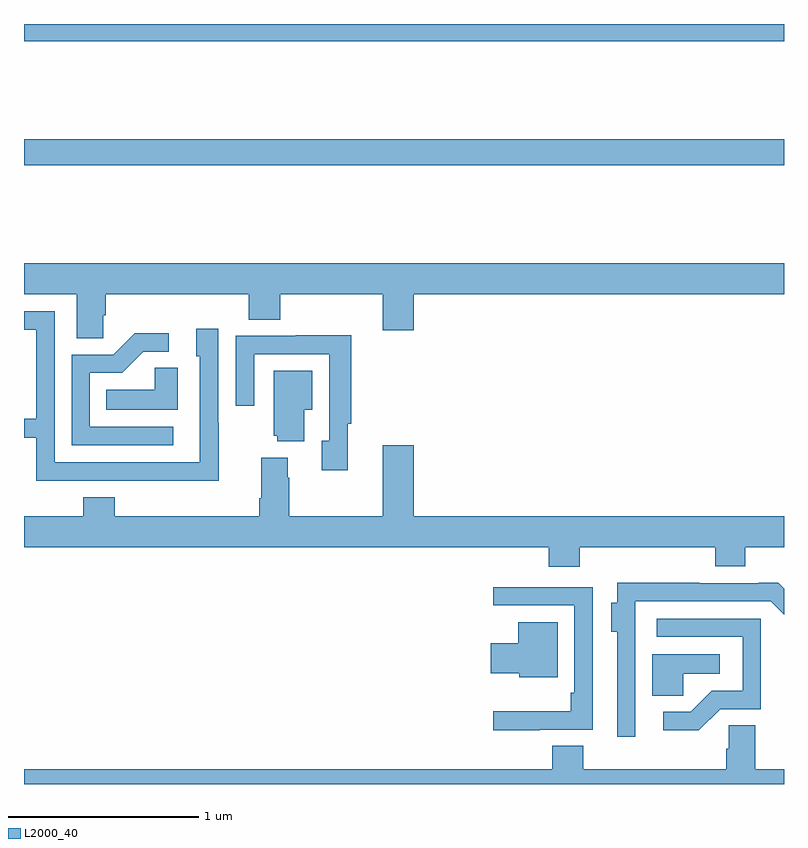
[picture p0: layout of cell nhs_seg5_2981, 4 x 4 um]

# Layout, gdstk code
import gdstk
lib = gdstk.Library(unit=1e-6, precision=1e-09)
def R(c, l, rs):  # rectangles x0, y0, x1, y1
    for r in rs: c.add(gdstk.rectangle(r[:2], r[2:], *l))
def P(c, l, *ps):  # polygons
    for p in ps: c.add(gdstk.Polygon(p, *l))
L2000_40 = (2000, 40)

nhs_seg5_2981 = lib.new_cell('nhs_seg5_2981')
R(nhs_seg5_2981, L2000_40, [(283,908.056,287,908.192), (283,908.708,287,908.799)])
P(nhs_seg5_2981, L2000_40, [(283.416,907.267),(283.43,907.267),(283.43,907.376),(284.183,907.376),(284.183,907.243),(284.348,907.243),(284.348,907.376),(284.888,907.376),(284.888,907.188),(285.052,907.188),(285.052,907.376),(287,907.376),(287,907.54),(283,907.54),(283,907.376),(283.277,907.376),(283.277,907.144),(283.416,907.144)],
  [(284.025,906.701),(284.022,906.701),(284.022,907.195),(283.907,907.195),(283.907,907.05),(283.926,907.05),(283.926,906.492),(283.161,906.492),(283.161,907.287),(283,907.287),(283,907.191),(283.065,907.191),(283.065,906.722),(283,906.722),(283,906.621),(283.065,906.621),(283.065,906.396),(283.561,906.396),(283.561,906.395),(284.025,906.395)],
  [(283.786,906.678),(283.347,906.678),(283.347,906.963),(283.516,906.963),(283.627,907.074),(283.762,907.074),(283.762,907.172),(283.583,907.172),(283.47,907.059),(283.251,907.059),(283.251,906.582),(283.786,906.582)],
  [(284.705,906.694),(284.723,906.694),(284.723,907.16),(284.431,907.16),(284.431,907.158),(284.115,907.158),(284.115,906.789),(284.211,906.789),(284.211,907.062),(284.607,907.062),(284.607,906.606),(284.567,906.606),(284.567,906.45),(284.705,906.45)],
  [(283.81,906.989),(283.689,906.989),(283.689,906.874),(283.432,906.874),(283.432,906.77),(283.81,906.77)],
  [(284.476,906.77),(284.518,906.77),(284.518,906.973),(284.315,906.973),(284.315,906.633),(284.333,906.633),(284.333,906.602),(284.476,906.602)],
  [(285.926,906.044),(286.637,906.044),(286.637,905.945),(286.797,905.945),(286.797,906.044),(287,906.044),(287,906.208),(285.052,906.208),(285.052,906.583),(284.888,906.583),(284.888,906.208),(284.397,906.208),(284.397,906.41),(284.389,906.41),(284.389,906.517),(284.249,906.517),(284.249,906.304),(284.237,906.304),(284.237,906.208),(283.478,906.208),(283.478,906.307),(283.313,906.307),(283.313,906.208),(283,906.208),(283,906.044),(285.761,906.044),(285.761,905.942),(285.926,905.942)],
  [(286.218,905.76),(286.929,905.76),(287,905.689),(287,905.827),(286.969,905.858),(286.868,905.858),(286.868,905.856),(286.553,905.856),(286.553,905.858),(286.122,905.858),(286.122,905.752),(286.091,905.752),(286.091,905.6),(286.122,905.6),(286.122,905.049),(286.218,905.049)],
  [(285.715,905.085),(285.993,905.085),(285.993,905.835),(285.471,905.835),(285.471,905.739),(285.897,905.739),(285.897,905.278),(285.877,905.278),(285.877,905.182),(285.471,905.182),(285.471,905.081),(285.715,905.081)],
  [(286.665,905.193),(286.878,905.193),(286.878,905.67),(286.329,905.67),(286.329,905.574),(286.782,905.574),(286.782,905.289),(286.62,905.289),(286.509,905.178),(286.365,905.178),(286.365,905.081),(286.552,905.081)],
  [(285.808,905.65),(285.602,905.65),(285.602,905.539),(285.456,905.539),(285.456,905.381),(285.606,905.381),(285.606,905.36),(285.808,905.36)],
  [(286.471,905.378),(286.663,905.378),(286.663,905.482),(286.307,905.482),(286.307,905.264),(286.471,905.264)],
  [(287,904.876),(286.849,904.876),(286.849,905.108),(286.71,905.108),(286.71,904.985),(286.697,904.985),(286.697,904.876),(285.944,904.876),(285.944,905),(285.779,905),(285.779,904.876),(283,904.876),(283,904.799),(287,904.799)])

lib.write_gds('nhs_seg5_2981.gds')
